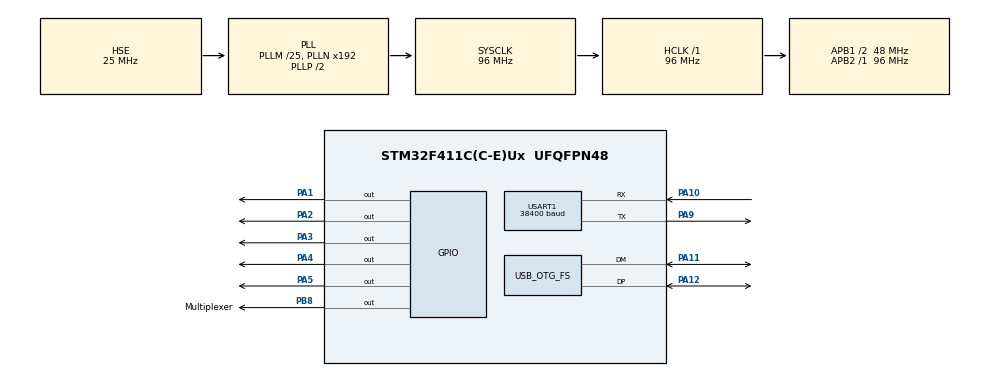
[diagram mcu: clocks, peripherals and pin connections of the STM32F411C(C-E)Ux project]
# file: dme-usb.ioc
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Dma.Request0=USART1_TX
Dma.USART1_TX.0.Direction=DMA_MEMORY_TO_PERIPH
Dma.USART1_TX.0.FIFOMode=DMA_FIFOMODE_DISABLE
Dma.USART1_TX.0.Instance=DMA2_Stream7
Dma.USART1_TX.0.MemDataAlignment=DMA_MDATAALIGN_BYTE
Dma.USART1_TX.0.MemInc=DMA_MINC_ENABLE
Dma.USART1_TX.0.Mode=DMA_NORMAL
Dma.USART1_TX.0.PeriphDataAlignment=DMA_PDATAALIGN_BYTE
Dma.USART1_TX.0.PeriphInc=DMA_PINC_DISABLE
Dma.USART1_TX.0.Priority=DMA_PRIORITY_VERY_HIGH
Mcu.Family=STM32F4
Mcu.Name=STM32F411C(C-E)Ux
Mcu.Package=UFQFPN48
NVIC.DMA2_Stream7_IRQn=true\:4\:0\:true\:false\:true\:false\:true
NVIC.OTG_FS_IRQn=true\:0\:0\:false\:false\:true\:false\:true
NVIC.PriorityGroup=NVIC_PRIORITYGROUP_4
NVIC.TIM4_IRQn=true\:1\:0\:true\:false\:true\:true\:true
NVIC.USART1_IRQn=true\:4\:0\:true\:false\:false\:true\:false
PA1.Signal=GPIO_Output
PA10.Mode=Asynchronous
PA10.Signal=USART1_RX
PA11.Mode=Device_Only
PA11.Signal=USB_OTG_FS_DM
PA12.Mode=Device_Only
PA12.Signal=USB_OTG_FS_DP
PA2.Signal=GPIO_Output
PA3.Signal=GPIO_Output
PA4.Signal=GPIO_Output
PA5.Signal=GPIO_Output
PA9.Mode=Asynchronous
PA9.Signal=USART1_TX
PB8.GPIO_Label=Multiplexer
PB8.GPIO_PuPd=GPIO_PULLDOWN
PB8.Signal=GPIO_Output
PC14-OSC32_IN.Mode=LSE-External-Oscillator
PC14-OSC32_IN.Signal=RCC_OSC32_IN
PC15-OSC32_OUT.Mode=LSE-External-Oscillator
PC15-OSC32_OUT.Signal=RCC_OSC32_OUT
PH0\ -\ OSC_IN.Mode=HSE-External-Oscillator
PH0\ -\ OSC_IN.Signal=RCC_OSC_IN
PH1\ -\ OSC_OUT.Mode=HSE-External-Oscillator
PH1\ -\ OSC_OUT.Signal=RCC_OSC_OUT
ProjectManager.HeapSize=0x200
ProjectManager.StackSize=0x400
ProjectManager.TargetToolchain=STM32CubeIDE
RCC.48MHZClocksFreq_Value=48000000
RCC.AHBFreq_Value=96000000
RCC.APB1CLKDivider=RCC_HCLK_DIV2
RCC.APB1Freq_Value=48000000
RCC.APB1TimFreq_Value=96000000
RCC.APB2Freq_Value=96000000
RCC.APB2TimFreq_Value=96000000
RCC.CortexFreq_Value=96000000
RCC.HCLKFreq_Value=96000000
RCC.HSE_VALUE=25000000
RCC.HSI_VALUE=16000000
RCC.PLLM=25
RCC.SYSCLKFreq_VALUE=96000000
RCC.SYSCLKSource=RCC_SYSCLKSOURCE_PLLCLK
RCC.VCOOutputFreq_Value=192000000
TIM4.AutoReloadPreload=TIM_AUTORELOAD_PRELOAD_ENABLE
TIM4.Period=15840
TIM4.Prescaler=100
USART1.BaudRate=38400
USART1.OverSampling=UART_OVERSAMPLING_16
USART1.Parity=PARITY_ODD
USART1.VirtualMode=VM_ASYNC
USART1.WordLength=WORDLENGTH_9B
USB_DEVICE.CLASS_NAME_FS=CDC
USB_DEVICE.MANUFACTURER_STRING=FeralCatDen
USB_DEVICE.PID_CDC_FS=0x5740
USB_DEVICE.PRODUCT_STRING_CDC_FS=DME Controller
USB_DEVICE.VID=0x483
USB_DEVICE.VirtualMode=Cdc
USB_DEVICE.VirtualModeFS=Cdc_FS
USB_OTG_FS.VirtualMode=Device_Only
VP_TIM4_VS_ClockSourceINT.Mode=Internal
VP_USB_DEVICE_VS_USB_DEVICE_CDC_FS.Mode=CDC_FS
board=custom

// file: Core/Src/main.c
/* USER CODE BEGIN Header */
/**
  ******************************************************************************
  * @file           : main.c
  * @brief          : Main program body
  ******************************************************************************
  * @attention
  *
  * <h2><center>&copy; Copyright (c) 2021 STMicroelectronics.
  * All rights reserved.</center></h2>
  *
  * This software component is licensed by ST under Ultimate Liberty license
  * SLA0044, the "License"; You may not use this file except in compliance with
  * the License. You may obtain a copy of the License at:
  *                             www.st.com/SLA0044
  *
  ******************************************************************************
  */
/* USER CODE END Header */
#include "main.h"
#include "usb_device.h"

/* USER CODE BEGIN Includes */
#include <stdbool.h>
#include <string.h>

#include "usbd_cdc_if.h"
#include "fifo.h"
/* USER CODE END Includes */

/* USER CODE BEGIN PD */
#define USE_FULL_ASSERT 1

#define TX_HEADER_SIZE 3
#define TX_PACKET_SIZE 60
#define MIN_PACKET_SIZE 5
#define MAX_PACKET_SIZE 9
#define TX_BUFFER_SIZE 192
#define PC_STATUS_SIZE 5
#define RX_IDLE_WAIT_COUNT 4

#define INACTIVE_BYTE 0x00
#define ACTIVE_BYTE 0x01
#define RECEIVE_OK_BYTE 0x02

#define ERROR_NONE 0x00
#define ERROR_OVERFLOW 0x03
/* USER CODE END PD */

/* USER CODE BEGIN PM */
#define SET_ERROR(x) if (currentError != (x)) { currentError = (x); hasErrorChanged = true; }
/* USER CODE END PM */

TIM_HandleTypeDef htim4;

UART_HandleTypeDef huart1;
DMA_HandleTypeDef hdma_usart1_tx;

/* USER CODE BEGIN PV */
volatile uint8_t currentState;
volatile uint8_t currentError;
volatile uint32_t rxIdleCounter;
volatile bool shouldSendPacket;
volatile bool hasErrorChanged;

const uint8_t pcInitPacket[] = { 0xFF, 0xFF, 0xFF, 0xFF, 0x01 };
const uint8_t pcStopPacket[] = { 0xFF, 0xFF, 0xFF, 0xFF, 0x00 };
const uint8_t packetHeader[] = { 0x02, 0x80, 0x86 };

uint8_t txInBuffer[TX_BUFFER_SIZE];
uint8_t txOutBuffer[TX_PACKET_SIZE];
FIFO_Data_Typedef txFifo;
/* USER CODE END PV */

void SystemClock_Config(void);
static void MX_GPIO_Init(void);
static void MX_TIM4_Init(void);
static void MX_DMA_Init(void);
static void MX_USART1_UART_Init(void);

/* USER CODE BEGIN 0 */
bool ReadPCStatusPacket(const uint8_t* targetPacket)
{
	uint8_t dataBuffer[PC_STATUS_SIZE];
	CDC_ReadRxBuffer_FS(dataBuffer, PC_STATUS_SIZE);

	// Compare the buffer with the target packet
	return memcmp(dataBuffer, targetPacket, sizeof(dataBuffer)) == 0;
}

void HAL_TIM_PeriodElapsedCallback(TIM_HandleTypeDef* htim)
{
	shouldSendPacket = true;
}

void USART1_IRQHandler(void)
{
	// Count the number of idle frames
	if (__HAL_UART_GET_FLAG(&huart1, UART_FLAG_IDLE))
	{
		__HAL_UART_CLEAR_IDLEFLAG(&huart1);
		rxIdleCounter++;
	}

	HAL_UART_IRQHandler(&huart1);
}
/* USER CODE END 0 */

int main(void)
{

  /* MCU Configuration--------------------------------------------------------*/

  /* Reset of all peripherals, Initializes the Flash interface and the Systick. */
  HAL_Init();

  /* Configure the system clock */
  SystemClock_Config();

  /* Initialize all configured peripherals */
  MX_GPIO_Init();
  MX_USB_DEVICE_Init();
  MX_TIM4_Init();
  MX_DMA_Init();
  MX_USART1_UART_Init();
  /* USER CODE BEGIN 2 */

	rxIdleCounter = 0;
	hasErrorChanged = false;
	shouldSendPacket = false;
	currentState = ConnectionState_Inactive;
	currentError = ERROR_NONE;

	FIFO_Init(&txFifo, txInBuffer, TX_BUFFER_SIZE);

	// Start the 60hz timer
	// TODO: Start this when starting the active state
	HAL_TIM_Base_Start_IT(&htim4);

  /* USER CODE END 2 */

  /* Infinite loop */
  /* USER CODE BEGIN WHILE */
  while (1)
  {
	  hasErrorChanged = false;
	  SET_ERROR(ERROR_NONE);

	  // State: Active
	  if (currentState == ConnectionState_Active)
	  {
		  bool txAvailable = true;
		  uint16_t rxBytesAvailable = CDC_GetRxBufferBytesAvailable_FS();

		  if (rxBytesAvailable)
		  {
			  DEBUGPIN_SET(1);
		  }

		  // Parse any incoming USB packets
		  while (rxBytesAvailable > 0 && txAvailable)
		  {
			  // Check if the PC has sent a status packet
			  if (rxBytesAvailable == PC_STATUS_SIZE)
			  {
				  if (ReadPCStatusPacket(pcStopPacket))
				  {
					  // Reset to the inactive state if the PC quits
					  currentState = ConnectionState_Inactive;

					  // Switch UART1 back to TX-RX mode
					  HAL_UART_DeInit(&huart1);
					  huart1.Init.Mode = UART_MODE_TX_RX;
					  HAL_UART_Init(&huart1);

					  // Disable UART1's IDLE interrupt
					  __HAL_UART_DISABLE_IT(&huart1, UART_IT_IDLE);

					  // Switch the multiplexer over to the DME7000
					  HAL_GPIO_WritePin(Multiplexer_GPIO_Port, Multiplexer_Pin, GPIO_PIN_RESET);

					  // Clear any remaining bytes
					  CDC_FlushRxBuffer_FS();
				  }

				  break;
			  }

			  uint16_t bytesRead = 0;
			  uint8_t dataBuffer[USB_RX_MAX_PACKET_SIZE];
			  if (CDC_ReadRxBufferUntilHeader_FS(dataBuffer, packetHeader, &bytesRead) == USB_CDC_RX_BUFFER_OK)
			  {
				  if (bytesRead == 0)
				  {
					  break;
				  }

				  // Write individual packets into the tx FIFO
				  uint16_t ptr = 0;
				  while (ptr < bytesRead)
				  {
					  // Read and verify the packet size
					  uint8_t packetSize = dataBuffer[ptr] + 1;
					  assert_param(packetSize >= MIN_PACKET_SIZE && packetSize <= MAX_PACKET_SIZE);

					  if (FIFO_WriteAvailable(&txFifo) < packetSize)
					  {
						  SET_ERROR(ERROR_OVERFLOW);
						  txAvailable = false;
						  break;
					  }

					  FIFO_Write(&txFifo, &dataBuffer[ptr], packetSize);

					  ptr += packetSize;
				  }
			  }

			  rxBytesAvailable = CDC_GetRxBufferBytesAvailable_FS();
		  }

		  DEBUGPIN_CLR(1);
	  }

	  // State: Inactive
	  else if (currentState == ConnectionState_Inactive)
	  {
		  // Try and read the initialization packet from the PC
		  uint16_t rxBytesAvailable = CDC_GetRxBufferBytesAvailable_FS();
		  if (rxBytesAvailable == PC_STATUS_SIZE)
		  {
			  if (ReadPCStatusPacket(pcInitPacket))
			  {
				  currentState = ConnectionState_Waiting;
				  rxIdleCounter = 0;

				  // Enable UART1's IDLE interrupt
				  __HAL_UART_ENABLE_IT(&huart1, UART_IT_IDLE);
			  }
		  }
		  else if (rxBytesAvailable > 0)
		  {
			  CDC_FlushRxBuffer_FS();
		  }

	  }

	  // State: Waiting
	  else if (currentState == ConnectionState_Waiting)
	  {
		  CDC_FlushRxBuffer_FS();

		  // Wait for a few IDLE frames, then switch to the Active state
		  if (rxIdleCounter >= RX_IDLE_WAIT_COUNT)
		  {
			  currentState = ConnectionState_Active;
			  CDC_FlushRxBuffer_FS();

			  // Switch UART1 to TX-only mode
			  HAL_UART_DeInit(&huart1);
			  huart1.Init.Mode = UART_MODE_TX;
			  HAL_UART_Init(&huart1);

			  // Disable UART1's IDLE interrupt
			  __HAL_UART_DISABLE_IT(&huart1, UART_IT_IDLE);

			  // Switch the multiplexer over to the STM32
			  HAL_GPIO_WritePin(Multiplexer_GPIO_Port, Multiplexer_Pin, GPIO_PIN_SET);
		  }
	  }

	  // Every 16.67ms, send tx packets from the FIFO to the USART
	  if (shouldSendPacket && huart1.gState != HAL_UART_STATE_BUSY_TX)
	  {
		  shouldSendPacket = false;

		  // Clear the tx output buffer and write the header
		  memset(txOutBuffer, 0, TX_PACKET_SIZE);
		  memcpy(txOutBuffer, packetHeader, TX_HEADER_SIZE);

		  uint16_t bytesRead = TX_HEADER_SIZE;
		  uint16_t bytesAvailable = FIFO_ReadAvailable(&txFifo);
		  if (bytesAvailable > MIN_PACKET_SIZE)
		  {
			  DEBUGPIN_SET(4);

			  // Fill the tx buffer with as many packets as will fit
			  while(bytesRead < TX_PACKET_SIZE && bytesAvailable > 0)
			  {
				  // Peek the first byte for the packet size
				  uint8_t packetSize = 0;
				  FIFO_Peek(&txFifo, &packetSize, 1);

				  // Check the packet size range before incrementing it to account for the size indicator byte
				  assert_param(packetSize >= MIN_PACKET_SIZE - 1 && packetSize <= MAX_PACKET_SIZE - 1);
				  packetSize += 1;

				  if (packetSize > (TX_PACKET_SIZE - bytesRead))
				  {
					  break;
				  }

				  FIFO_Read(&txFifo, &txOutBuffer[bytesRead], packetSize);

				  bytesRead += packetSize;
				  bytesAvailable = FIFO_ReadAvailable(&txFifo);
			  }

			  DEBUGPIN_CLR(4);
		  }

		  // Start the DMA transfer
		  HAL_UART_Transmit_DMA(&huart1, txOutBuffer, bytesRead);

		  DEBUGPIN_SET(3);

		  // Write out the status bit. Depending on the state, this will trigger the PC to send another data packet.
		  uint8_t buffer[3] = { 0xFF, currentState == ConnectionState_Active ? ACTIVE_BYTE : INACTIVE_BYTE, currentError };
		  while(CDC_Transmit_FS(buffer, sizeof(buffer)) == USBD_BUSY);

		  DEBUGPIN_CLR(3);

	  }
    /* USER CODE END WHILE */

  }
}

void SystemClock_Config(void)
{
  RCC_OscInitTypeDef RCC_OscInitStruct = {0};
  RCC_ClkInitTypeDef RCC_ClkInitStruct = {0};

  /** Configure the main internal regulator output voltage
  */
  __HAL_RCC_PWR_CLK_ENABLE();
  __HAL_PWR_VOLTAGESCALING_CONFIG(PWR_REGULATOR_VOLTAGE_SCALE1);
  /** Initializes the RCC Oscillators according to the specified parameters
  * in the RCC_OscInitTypeDef structure.
  */
  RCC_OscInitStruct.OscillatorType = RCC_OSCILLATORTYPE_HSE;
  RCC_OscInitStruct.HSEState = RCC_HSE_ON;
  RCC_OscInitStruct.PLL.PLLState = RCC_PLL_ON;
  RCC_OscInitStruct.PLL.PLLSource = RCC_PLLSOURCE_HSE;
  RCC_OscInitStruct.PLL.PLLM = 25;
  RCC_OscInitStruct.PLL.PLLN = 192;
  RCC_OscInitStruct.PLL.PLLP = RCC_PLLP_DIV2;
  RCC_OscInitStruct.PLL.PLLQ = 4;
  if (HAL_RCC_OscConfig(&RCC_OscInitStruct) != HAL_OK)
  {
    Error_Handler();
  }
  /** Initializes the CPU, AHB and APB buses clocks
  */
  RCC_ClkInitStruct.ClockType = RCC_CLOCKTYPE_HCLK|RCC_CLOCKTYPE_SYSCLK
                              |RCC_CLOCKTYPE_PCLK1|RCC_CLOCKTYPE_PCLK2;
  RCC_ClkInitStruct.SYSCLKSource = RCC_SYSCLKSOURCE_PLLCLK;
  RCC_ClkInitStruct.AHBCLKDivider = RCC_SYSCLK_DIV1;
  RCC_ClkInitStruct.APB1CLKDivider = RCC_HCLK_DIV2;
  RCC_ClkInitStruct.APB2CLKDivider = RCC_HCLK_DIV1;

  if (HAL_RCC_ClockConfig(&RCC_ClkInitStruct, FLASH_LATENCY_3) != HAL_OK)
  {
    Error_Handler();
  }
}

static void MX_TIM4_Init(void)
{

  TIM_ClockConfigTypeDef sClockSourceConfig = {0};
  TIM_MasterConfigTypeDef sMasterConfig = {0};

  htim4.Instance = TIM4;
  htim4.Init.Prescaler = 100;
  htim4.Init.CounterMode = TIM_COUNTERMODE_UP;
  htim4.Init.Period = 15840;
  htim4.Init.ClockDivision = TIM_CLOCKDIVISION_DIV1;
  htim4.Init.AutoReloadPreload = TIM_AUTORELOAD_PRELOAD_ENABLE;
  if (HAL_TIM_Base_Init(&htim4) != HAL_OK)
  {
    Error_Handler();
  }
  sClockSourceConfig.ClockSource = TIM_CLOCKSOURCE_INTERNAL;
  if (HAL_TIM_ConfigClockSource(&htim4, &sClockSourceConfig) != HAL_OK)
  {
    Error_Handler();
  }
  sMasterConfig.MasterOutputTrigger = TIM_TRGO_RESET;
  sMasterConfig.MasterSlaveMode = TIM_MASTERSLAVEMODE_DISABLE;
  if (HAL_TIMEx_MasterConfigSynchronization(&htim4, &sMasterConfig) != HAL_OK)
  {
    Error_Handler();
  }

}

static void MX_USART1_UART_Init(void)
{

  huart1.Instance = USART1;
  huart1.Init.BaudRate = 38400;
  huart1.Init.WordLength = UART_WORDLENGTH_9B;
  huart1.Init.StopBits = UART_STOPBITS_1;
  huart1.Init.Parity = UART_PARITY_ODD;
  huart1.Init.Mode = UART_MODE_TX_RX;
  huart1.Init.HwFlowCtl = UART_HWCONTROL_NONE;
  huart1.Init.OverSampling = UART_OVERSAMPLING_16;
  if (HAL_UART_Init(&huart1) != HAL_OK)
  {
    Error_Handler();
  }

}

static void MX_DMA_Init(void)
{

  /* DMA controller clock enable */
  __HAL_RCC_DMA2_CLK_ENABLE();

  /* DMA interrupt init */
  /* DMA2_Stream7_IRQn interrupt configuration */
  HAL_NVIC_SetPriority(DMA2_Stream7_IRQn, 4, 0);
  HAL_NVIC_EnableIRQ(DMA2_Stream7_IRQn);

}

static void MX_GPIO_Init(void)
{
  GPIO_InitTypeDef GPIO_InitStruct = {0};

  /* GPIO Ports Clock Enable */
  __HAL_RCC_GPIOC_CLK_ENABLE();
  __HAL_RCC_GPIOH_CLK_ENABLE();
  __HAL_RCC_GPIOA_CLK_ENABLE();
  __HAL_RCC_GPIOB_CLK_ENABLE();

  /*Configure GPIO pin Output Level */
  HAL_GPIO_WritePin(GPIOA, GPIO_PIN_1|GPIO_PIN_2|GPIO_PIN_3|GPIO_PIN_4
                          |GPIO_PIN_5, GPIO_PIN_RESET);

  /*Configure GPIO pin Output Level */
  HAL_GPIO_WritePin(Multiplexer_GPIO_Port, Multiplexer_Pin, GPIO_PIN_RESET);

  /*Configure GPIO pins : PA1 PA2 PA3 PA4
                           PA5 */
  GPIO_InitStruct.Pin = GPIO_PIN_1|GPIO_PIN_2|GPIO_PIN_3|GPIO_PIN_4
                          |GPIO_PIN_5;
  GPIO_InitStruct.Mode = GPIO_MODE_OUTPUT_PP;
  GPIO_InitStruct.Pull = GPIO_NOPULL;
  GPIO_InitStruct.Speed = GPIO_SPEED_FREQ_LOW;
  HAL_GPIO_Init(GPIOA, &GPIO_InitStruct);

  /*Configure GPIO pin : Multiplexer_Pin */
  GPIO_InitStruct.Pin = Multiplexer_Pin;
  GPIO_InitStruct.Mode = GPIO_MODE_OUTPUT_PP;
  GPIO_InitStruct.Pull = GPIO_PULLDOWN;
  GPIO_InitStruct.Speed = GPIO_SPEED_FREQ_LOW;
  HAL_GPIO_Init(Multiplexer_GPIO_Port, &GPIO_InitStruct);

}

/* USER CODE END 4 */

void Error_Handler(void)
{
  /* USER CODE BEGIN Error_Handler_Debug */
  /* User can add his own implementation to report the HAL error return state */
  __disable_irq();
  assert_param(false);
  /* USER CODE END Error_Handler_Debug */
}

#ifdef  USE_FULL_ASSERT
/**
  * @brief  Reports the name of the source file and the source line number
  *         where the assert_param error has occurred.
  * @param  file: pointer to the source file name
  * @param  line: assert_param error line source number
  * @retval None
  */
void assert_failed(uint8_t *file, uint32_t line)
{
  /* USER CODE BEGIN 6 */
  /* User can add his own implementation to report the file name and line number,
     ex: printf("Wrong parameters value: file %s on line %d\r\n", file, line) */
	__asm__("BKPT");
  /* USER CODE END 6 */
}
#endif /* USE_FULL_ASSERT */

/************************ (C) COPYRIGHT STMicroelectronics *****END OF FILE****/
